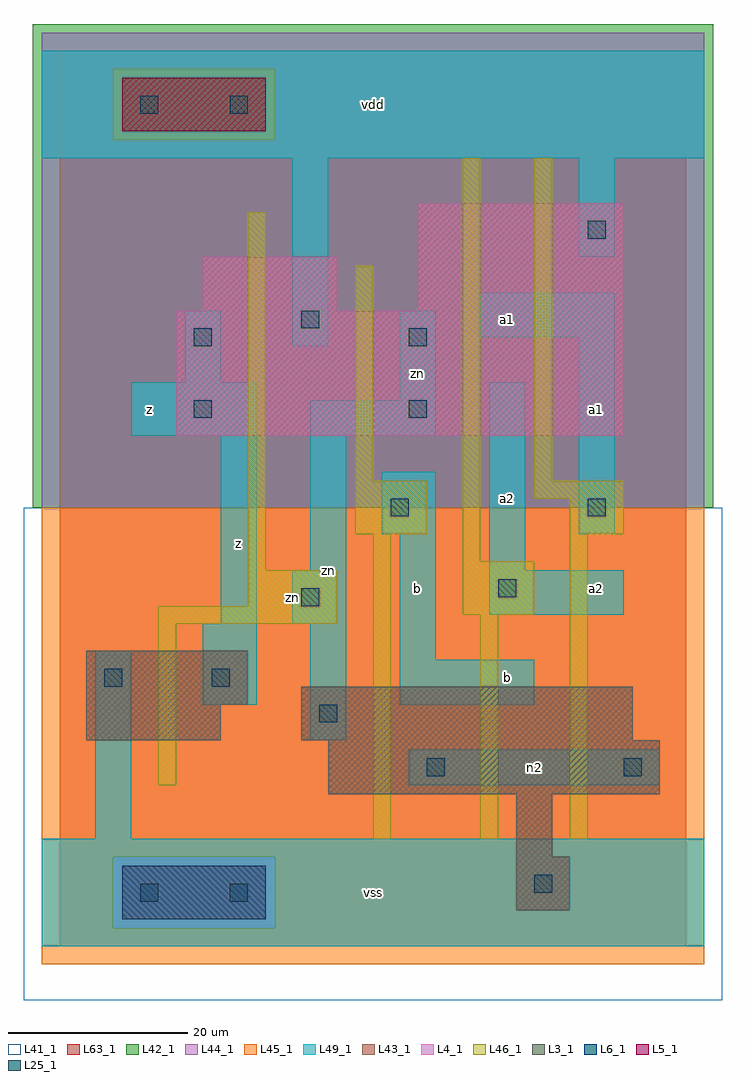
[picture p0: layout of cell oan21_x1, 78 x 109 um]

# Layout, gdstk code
import gdstk
lib = gdstk.Library(unit=1e-6, precision=1e-09)
def R(c, l, rs):  # rectangles x0, y0, x1, y1
    for r in rs: c.add(gdstk.rectangle(r[:2], r[2:], *l))
L3_1 = (3, 1)
L4_1 = (4, 1)
L5_1 = (5, 1)
L6_1 = (6, 1)
L25_1 = (25, 1)
L41_1 = (41, 1)
L42_1 = (42, 1)
L43_1 = (43, 1)
L44_1 = (44, 1)
L45_1 = (45, 1)
L46_1 = (46, 1)
L49_1 = (49, 1)
L63_1 = (63, 1)

oan21_x1 = lib.new_cell('oan21_x1')
R(oan21_x1, L3_1, [(51,4,57,10), (51,10,55,17), (30,17,67,23), (3,23,18,27), (27,23,64,29), (3,27,21,33)])
R(oan21_x1, L4_1, [(13,57,63,71), (16,71,31,77), (40,71,63,83)])
R(oan21_x1, L5_1, [(7,91,23,97)])
R(oan21_x1, L6_1, [(7,3,23,9)])
R(oan21_x1, L25_1, [(9,5,11,7), (19,5,21,7), (53,6,55,8), (41,19,43,21), (63,19,65,21), (29,25,31,27), (5,29,7,31), (17,29,19,31), (27,38,29,40), (49,39,51,41), (37,48,39,50), (59,48,61,50), (15,59,17,61), (39,59,41,61), (15,67,17,69), (39,67,41,69), (27,69,29,71), (59,79,61,81), (9,93,11,95), (19,93,21,95)])
R(oan21_x1, L41_1, [(-4,-6,74,49), (-3,-3,73,49)])
R(oan21_x1, L42_1, [(-3,49,73,103)])
R(oan21_x1, L43_1, [(7,3,23,9), (51,4,57,10), (51,10,55,17), (30,17,67,23), (3,23,18,27), (27,23,64,29), (3,27,21,33), (13,57,63,71), (16,71,31,77), (40,71,63,83), (7,91,23,97)])
R(oan21_x1, L44_1, [(6,2,24,10), (-2,49,72,90), (-2,90,6,98), (24,90,72,98), (-2,98,72,102)])
R(oan21_x1, L45_1, [(-2,-2,72,2), (-2,2,6,10), (24,2,72,10), (-2,10,72,49), (6,90,24,98)])
R(oan21_x1, L46_1, [(35,12,37,46), (47,12,49,37), (57,12,59,46), (11,18,13,36), (11,36,31,38), (45,37,53,43), (21,38,31,42), (21,42,23,82), (45,43,47,88), (33,46,41,52), (57,46,63,50), (53,50,63,52), (33,52,35,76), (53,52,55,88)])
R(oan21_x1, L49_1, [(-2,0,72,12), (4,12,8,33), (39,18,67,22), (28,23,32,36), (16,27,22,36), (38,27,53,32), (38,32,42,46), (18,36,22,57), (26,36,32,42), (48,37,63,42), (28,42,32,57), (48,42,52,63), (36,46,42,53), (58,46,62,68), (8,57,22,63), (28,57,42,61), (38,61,42,71), (14,63,18,71), (26,67,30,88), (47,68,62,73), (58,77,62,88), (-2,88,72,100)])
R(oan21_x1, L63_1, [(0,0,70,100)])
oan21_x1.add(gdstk.Label('zn', (26,39), layer=46, texttype=1))
oan21_x1.add(gdstk.Label('z', (10,60), layer=49, texttype=1))
oan21_x1.add(gdstk.Label('z', (10,60), layer=49, texttype=1))
oan21_x1.add(gdstk.Label('z', (20,45), layer=49, texttype=1))
oan21_x1.add(gdstk.Label('z', (20,45), layer=49, texttype=1))
oan21_x1.add(gdstk.Label('zn', (30,42), layer=49, texttype=1))
oan21_x1.add(gdstk.Label('vss', (35,6), layer=49, texttype=1))
oan21_x1.add(gdstk.Label('vss', (35,6), layer=49, texttype=1))
oan21_x1.add(gdstk.Label('b', (50,30), layer=49, texttype=1))
oan21_x1.add(gdstk.Label('b', (40,40), layer=49, texttype=1))
oan21_x1.add(gdstk.Label('b', (40,40), layer=49, texttype=1))
oan21_x1.add(gdstk.Label('b', (50,30), layer=49, texttype=1))
oan21_x1.add(gdstk.Label('a2', (50,50), layer=49, texttype=1))
oan21_x1.add(gdstk.Label('a2', (50,50), layer=49, texttype=1))
oan21_x1.add(gdstk.Label('zn', (40,64), layer=49, texttype=1))
oan21_x1.add(gdstk.Label('a1', (50,70), layer=49, texttype=1))
oan21_x1.add(gdstk.Label('a1', (50,70), layer=49, texttype=1))
oan21_x1.add(gdstk.Label('vdd', (35,94), layer=49, texttype=1))
oan21_x1.add(gdstk.Label('vdd', (35,94), layer=49, texttype=1))
oan21_x1.add(gdstk.Label('n2', (53,20), layer=49, texttype=1))
oan21_x1.add(gdstk.Label('a2', (60,40), layer=49, texttype=1))
oan21_x1.add(gdstk.Label('a2', (60,40), layer=49, texttype=1))
oan21_x1.add(gdstk.Label('a1', (60,60), layer=49, texttype=1))
oan21_x1.add(gdstk.Label('a1', (60,60), layer=49, texttype=1))

lib.write_gds('oan21_x1.gds')
